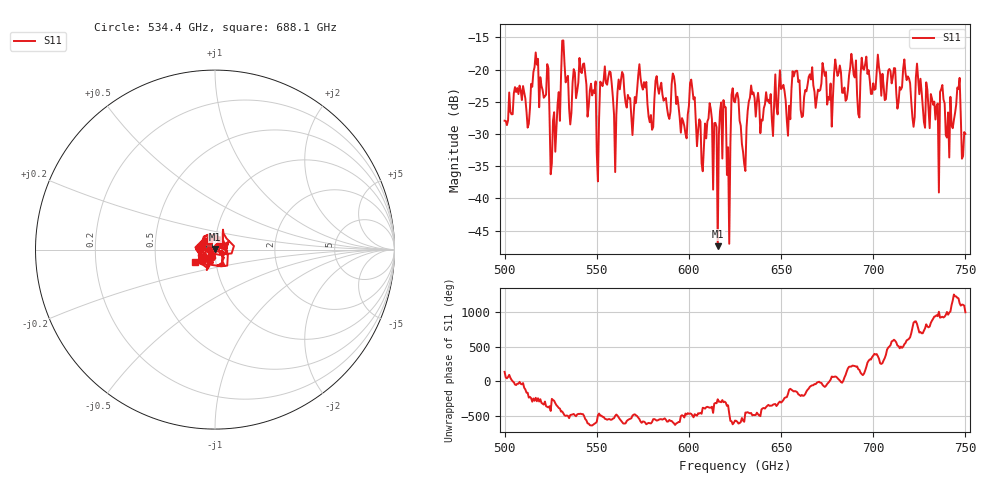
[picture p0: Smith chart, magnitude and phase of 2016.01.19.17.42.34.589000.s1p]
!Created with skrf (http://scikit-rf.org).
# GHz S RI R 50.0
!freq ReS11 ImS11
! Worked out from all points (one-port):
!   401 points, 500 GHz to 750 GHz, reference 50 ohm
!   lowest |S11| = -47.4 dB at 615.6 GHz (marker M1), VSWR 1.01, Z = 49.9 + j0.421 ohm
!   |S11| at or under -10 dB: start of sweep to end of sweep
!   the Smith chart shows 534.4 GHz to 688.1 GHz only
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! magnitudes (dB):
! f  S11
! 500 GHz  -27.9
! 512.5 GHz  -29.0
! 516.9 GHz  -17.4
! 526.2 GHz  -27.9
! 531.2 GHz  -15.5
! 535.6 GHz  -28.5
! 541.9 GHz  -20.6
! 550 GHz  -33.0
! 553.1 GHz  -22.6
! 560 GHz  -35.9
! 562.5 GHz  -23.1
! 593.8 GHz  -24.2
! 601.9 GHz  -23.0
! 606.9 GHz  -34.5
! 611.2 GHz  -25.2
! 615.6 GHz  -47.4
! 618.8 GHz  -24.7
! 621.9 GHz  -47.0
! 625 GHz  -25.1
! 630 GHz  -34.7
! 633.8 GHz  -22.5
! 653.8 GHz  -30.3
! 656.2 GHz  -20.3
! 687.5 GHz  -19.7
! 718.8 GHz  -21.1
! 740 GHz  -30.6
! 746.2 GHz  -23.0
! 750 GHz  -30.0
